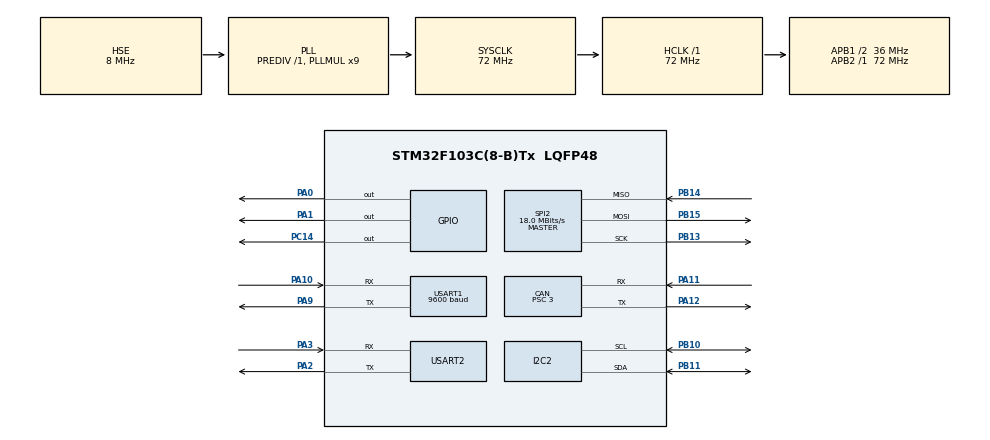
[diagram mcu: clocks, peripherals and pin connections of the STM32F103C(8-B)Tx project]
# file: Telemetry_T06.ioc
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CAN.BS1=CAN_BS1_9TQ
CAN.BS2=CAN_BS2_2TQ
CAN.CalculateTimeBit=1000
CAN.CalculateTimeQuantum=83.33333333333334
CAN.NART=ENABLE
CAN.Prescaler=3
CAN.TTCM=ENABLE
Mcu.Family=STM32F1
Mcu.Name=STM32F103C(8-B)Tx
Mcu.Package=LQFP48
NVIC.PriorityGroup=NVIC_PRIORITYGROUP_4
NVIC.USB_LP_CAN1_RX0_IRQn=true\:0\:0\:false\:false\:true\:true\:true
PA0-WKUP.Signal=GPIO_Output
PA1.Signal=GPIO_Output
PA10.Mode=Asynchronous
PA10.Signal=USART1_RX
PA11.Mode=Master
PA11.Signal=CAN_RX
PA12.Mode=Master
PA12.Signal=CAN_TX
PA13.Mode=Serial_Wire
PA13.Signal=SYS_JTMS-SWDIO
PA14.Mode=Serial_Wire
PA14.Signal=SYS_JTCK-SWCLK
PA2.Mode=Asynchronous
PA2.Signal=USART2_TX
PA3.Mode=Asynchronous
PA3.Signal=USART2_RX
PA9.Mode=Asynchronous
PA9.Signal=USART1_TX
PB10.Mode=I2C
PB10.Signal=I2C2_SCL
PB11.Mode=I2C
PB11.Signal=I2C2_SDA
PB13.Mode=Full_Duplex_Master
PB13.Signal=SPI2_SCK
PB14.Mode=Full_Duplex_Master
PB14.Signal=SPI2_MISO
PB15.Mode=Full_Duplex_Master
PB15.Signal=SPI2_MOSI
PC14-OSC32_IN.Signal=GPIO_Output
PD0-OSC_IN.Mode=HSE-External-Oscillator
PD0-OSC_IN.Signal=RCC_OSC_IN
PD1-OSC_OUT.Mode=HSE-External-Oscillator
PD1-OSC_OUT.Signal=RCC_OSC_OUT
ProjectManager.HeapSize=0x200
ProjectManager.StackSize=0x400
ProjectManager.TargetToolchain=MDK-ARM V5
RCC.AHBFreq_Value=72000000
RCC.APB1CLKDivider=RCC_HCLK_DIV2
RCC.APB1Freq_Value=36000000
RCC.APB1TimFreq_Value=72000000
RCC.APB2Freq_Value=72000000
RCC.APB2TimFreq_Value=72000000
RCC.HCLKFreq_Value=72000000
RCC.PLLMUL=RCC_PLL_MUL9
RCC.PLLSourceVirtual=RCC_PLLSOURCE_HSE
RCC.SYSCLKFreq_VALUE=72000000
RCC.SYSCLKSource=RCC_SYSCLKSOURCE_PLLCLK
RCC.USBFreq_Value=72000000
RTC.Month=RTC_MONTH_JUNE
SPI2.BaudRatePrescaler=SPI_BAUDRATEPRESCALER_2
SPI2.CLKPhase=SPI_PHASE_1EDGE
SPI2.CalculateBaudRate=18.0 MBits/s
SPI2.DataSize=SPI_DATASIZE_16BIT
SPI2.Direction=SPI_DIRECTION_2LINES
SPI2.Mode=SPI_MODE_MASTER
SPI2.VirtualType=VM_MASTER
USART1.BaudRate=9600
USART1.VirtualMode=VM_ASYNC
USART2.VirtualMode=VM_ASYNC
VP_RTC_No_RTC_Output.Mode=RTC_OUT_NO
VP_RTC_VS_RTC_Activate.Mode=RTC_Enabled
board=custom

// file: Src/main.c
/* USER CODE BEGIN Header */
/**
  ******************************************************************************
  * @file           : main.c
  * @brief          : Main program body
  ******************************************************************************
  * @attention
  *
  * <h2><center>&copy; Copyright (c) 2020 STMicroelectronics.
  * All rights reserved.</center></h2>
  *
  * This software component is licensed by ST under BSD 3-Clause license,
  * the "License"; You may not use this file except in compliance with the
  * License. You may obtain a copy of the License at:
  *                        opensource.org/licenses/BSD-3-Clause
  *
  ******************************************************************************
  */
/* USER CODE END Header */
#include "main.h"
#include "can.h"
#include "i2c.h"
#include "rtc.h"
#include "spi.h"
#include "usart.h"
#include "gpio.h"

/* USER CODE BEGIN Includes */
#include "sd_stm32.h"
#include "ff.h"
#include "ffconf.h"
#include "string.h"
/* USER CODE END Includes */

/* USER CODE BEGIN PTD */
CAN_RxHeaderTypeDef RxHeader;
CAN_FilterTypeDef set_Filter_up;
CAN_TxHeaderTypeDef TxHeader;

RTC_TimeTypeDef sTime = {0};
RTC_DateTypeDef DateToUpdate = {0};
/* USER CODE END PTD */

/* USER CODE BEGIN PV */
char num[]="0";

FATFS mynewdiskFatFs;
FIL MyFile;
char mynewdiskPath[4];
uint8_t value;
uint16_t c = 990;

uint8_t Hour, min, sec;
uint8_t date,week_day,month,year;

uint32_t TxMailbox;

volatile uint8_t flag_can = 1;

/*-------Dados telemetria----------*/

volatile uint8_t Tel_data[38];

//Tel_data[0]  -> Throtle
//Tel_data[1]  -> Steer
//Tel_data[2]  -> Counter LSB
//Tel_data[3]  -> Counter MSB
//Tel_data[4]  -> Brake
//Tel_data[5]  -> Ax LSB
//Tel_data[6]  -> Ax MSB
//Tel_data[7]  -> Ay LSB
//Tel_data[8]  -> Ay MSB
//Tel_data[9]  -> Az LSB
//Tel_data[10] -> Az MSB
//Tel_data[11] -> Gx LSB
//Tel_data[12] -> Gx MSB
//Tel_data[13] -> Gy LSB
//Tel_data[14] -> Gy MSB
//Tel_data[15] -> Gz LSB
//Tel_data[16] -> Gz MSB
//Tel_data[17] -> Flags 0b0000(dif)(bse)(bppc)(apps)
//Tel_data[18] -> motor1 temp
//Tel_data[19] -> MSB motor1 rpm
//Tel_data[20] -> LSB motor1 rpm
//Tel_data[21] -> motor2 temp
//Tel_data[22] -> MSB motor2 rpm
//Tel_data[23] -> LSB motor2 rpm
//Tel_data[24] -> Inversor errors
//Tel_data[25] -> MSB pack current
//Tel_data[26] -> LSB pack current
//Tel_data[27] -> MSB pack voltage
//Tel_data[28] -> LSB pack voltage
//Tel_data[29] -> state of charge
//Tel_data[30] -> high pack temp
//Tel_data[31] -> low pack temp
//Tel_data[31] -> Hora
//Tel_data[32] -> Minutos
//Tel_data[33] -> Segundos
//Tel_data[34] -> Ano
//Tel_data[35] -> Mês
//Tel_data[36] -> Dia

/* USER CODE END PV */

void SystemClock_Config(void);
/* USER CODE BEGIN PFP */
void Sd_Write(void);
void Sd_Save(void);
void Sd_Config(void);
void Can_Rx_Wait(void);
void read_RTC (void);
/* USER CODE END PFP */

int main(void)
{

  /* MCU Configuration--------------------------------------------------------*/

  /* Reset of all peripherals, Initializes the Flash interface and the Systick. */
  HAL_Init();

  /* Configure the system clock */
  SystemClock_Config();

  /* Initialize all configured peripherals */
  MX_GPIO_Init();
  MX_CAN_Init();
  MX_SPI2_Init();
  MX_USART1_UART_Init();
  MX_I2C2_Init();
  MX_RTC_Init();
  MX_USART2_UART_Init();
  /* USER CODE BEGIN 2 */
	HAL_GPIO_WritePin(GPIOC, GPIO_PIN_14, GPIO_PIN_SET);
	Sd_Config();
  /* USER CODE END 2 */

  /* Infinite loop */
  while (1)
  {

    /* USER CODE BEGIN 3 */

		Sd_Write();
		if(c == 1000){
			Sd_Save();
			c = 1;
		}
		c++;

  }
  /* USER CODE END 3 */
}

void SystemClock_Config(void)
{
  RCC_OscInitTypeDef RCC_OscInitStruct = {0};
  RCC_ClkInitTypeDef RCC_ClkInitStruct = {0};
  RCC_PeriphCLKInitTypeDef PeriphClkInit = {0};

  /** Initializes the RCC Oscillators according to the specified parameters
  * in the RCC_OscInitTypeDef structure.
  */
  RCC_OscInitStruct.OscillatorType = RCC_OSCILLATORTYPE_LSI|RCC_OSCILLATORTYPE_HSE;
  RCC_OscInitStruct.HSEState = RCC_HSE_ON;
  RCC_OscInitStruct.HSEPredivValue = RCC_HSE_PREDIV_DIV1;
  RCC_OscInitStruct.HSIState = RCC_HSI_ON;
  RCC_OscInitStruct.LSIState = RCC_LSI_ON;
  RCC_OscInitStruct.PLL.PLLState = RCC_PLL_ON;
  RCC_OscInitStruct.PLL.PLLSource = RCC_PLLSOURCE_HSE;
  RCC_OscInitStruct.PLL.PLLMUL = RCC_PLL_MUL9;
  if (HAL_RCC_OscConfig(&RCC_OscInitStruct) != HAL_OK)
  {
    Error_Handler();
  }
  /** Initializes the CPU, AHB and APB buses clocks
  */
  RCC_ClkInitStruct.ClockType = RCC_CLOCKTYPE_HCLK|RCC_CLOCKTYPE_SYSCLK
                              |RCC_CLOCKTYPE_PCLK1|RCC_CLOCKTYPE_PCLK2;
  RCC_ClkInitStruct.SYSCLKSource = RCC_SYSCLKSOURCE_PLLCLK;
  RCC_ClkInitStruct.AHBCLKDivider = RCC_SYSCLK_DIV1;
  RCC_ClkInitStruct.APB1CLKDivider = RCC_HCLK_DIV2;
  RCC_ClkInitStruct.APB2CLKDivider = RCC_HCLK_DIV1;

  if (HAL_RCC_ClockConfig(&RCC_ClkInitStruct, FLASH_LATENCY_2) != HAL_OK)
  {
    Error_Handler();
  }
  PeriphClkInit.PeriphClockSelection = RCC_PERIPHCLK_RTC;
  PeriphClkInit.RTCClockSelection = RCC_RTCCLKSOURCE_LSI;
  if (HAL_RCCEx_PeriphCLKConfig(&PeriphClkInit) != HAL_OK)
  {
    Error_Handler();
  }
}

/* USER CODE BEGIN 4 */
void CAN_Setup(void){
//---------Configurações de filtro e máscara---------

	set_Filter_up.FilterIdHigh = 0x600<<5;
	set_Filter_up.FilterIdLow = 0;
	set_Filter_up.FilterMaskIdHigh = 0x700<<5;
	set_Filter_up.FilterMaskIdLow = 0;
	set_Filter_up.FilterFIFOAssignment = CAN_FILTER_FIFO0;
	set_Filter_up.FilterBank = 0;
	set_Filter_up.FilterMode = CAN_FILTERMODE_IDMASK;
	set_Filter_up.FilterScale = CAN_FILTERSCALE_32BIT;
	set_Filter_up.FilterActivation = ENABLE;
	HAL_CAN_ConfigFilter(&hcan, &set_Filter_up);
//---------Configurações do envio--------------------

	TxHeader.IDE = CAN_ID_STD;
	TxHeader.RTR = CAN_RTR_DATA;

//---------Início do funcionamento CAN---------------

	HAL_CAN_Start(&hcan);
	HAL_CAN_ActivateNotification(&hcan, CAN_IT_RX_FIFO0_MSG_PENDING);

}

void Sd_Config(void){
	f_mount(&mynewdiskFatFs, (TCHAR const*)mynewdiskPath, 0);
	f_open(&MyFile, "T05.TXT", FA_OPEN_APPEND | FA_WRITE);
}

void Sd_Write(void){
	char text[4], textf[5];
	uint32_t bytes;

	for(int i=0; i<37; i++){
		sprintf(text,"%03d", Tel_data[i] );
		text[3] = ',';
		f_write(&MyFile, text, sizeof(text), (void *)&bytes);
	}

	sprintf(textf,"%03d\r\n", Tel_data[37]);
	f_write(&MyFile, textf, sizeof(textf), (void *)&bytes);

}

void Sd_Save(void){
	f_close(&MyFile);
	f_open(&MyFile, "T05.TXT", FA_OPEN_APPEND | FA_WRITE);
}

void read_RTC (void){

	if (HAL_RTC_GetTime(&hrtc,&sTime,RTC_FORMAT_BCD) == HAL_OK){
		Hour = sTime.Hours;
		min = sTime.Minutes;
		sec = sTime.Seconds;
	}else{
		Error_Handler();
	}

	if( Hour == 0 ){
		if (HAL_RTC_GetDate(&hrtc,&DateToUpdate,RTC_FORMAT_BCD) == HAL_OK){
			year = DateToUpdate.Year;
			month = DateToUpdate.Month;
			week_day = DateToUpdate.WeekDay;
			date = DateToUpdate.Date;
		}else{
			Error_Handler();
		}
	}

	Tel_data[32] = Hour;
	Tel_data[33] = min;
	Tel_data[34] = sec;
	Tel_data[35] = year;
	Tel_data[36] = month;
	Tel_data[37] = date;
}

void Can_Receive(void){
	uint8_t dummy = 0x00;

	TxHeader.DLC = 1;
	TxHeader.StdId = 0x310;
	HAL_CAN_AddTxMessage(&hcan, &TxHeader, &dummy, &TxMailbox);

	Can_Rx_Wait();
	Can_Rx_Wait();
	Can_Rx_Wait();
	Can_Rx_Wait();
}

void Can_Rx_Wait(void){
	while(flag_can);
	flag_can = 0;
}

/* USER CODE END 4 */

void Error_Handler(void)
{
}

/************************ (C) COPYRIGHT STMicroelectronics *****END OF FILE****/
